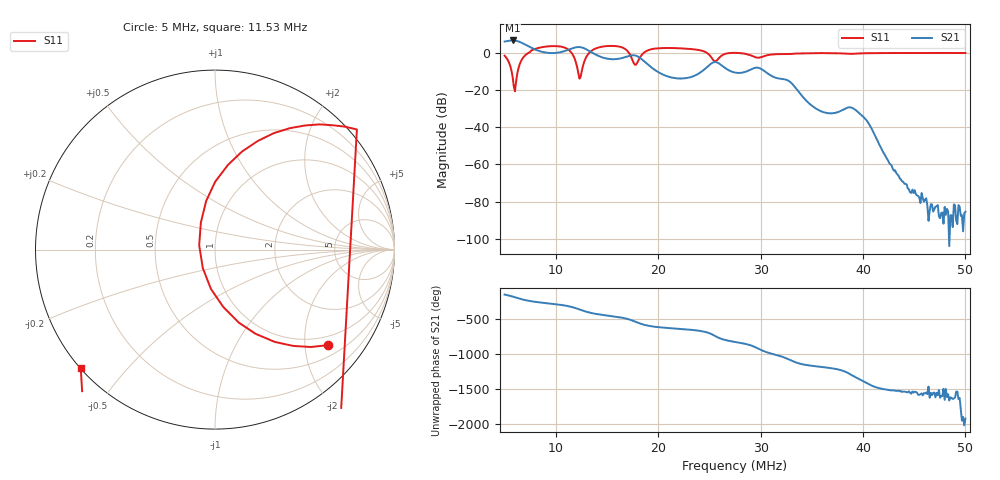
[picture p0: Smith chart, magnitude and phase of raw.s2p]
! S11/S21 only; reverse parameters are placeholders. Device calibration unverified.
! NanoVNA F V2 profile | COM3 | 2026-09-08T12:07:22.0122053-04:00 | device calibration unverified
# HZ S RI R 50
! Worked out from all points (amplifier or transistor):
!   401 points, 5 MHz to 50 MHz, reference 50 ohm
!   highest |S21| = 6.5 dB at 5.787 MHz (marker M1)
!   |S21| within 3 dB of that: start of sweep to 7.278 MHz
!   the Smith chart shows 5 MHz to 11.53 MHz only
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5000000  0.6305 -0.5322  -1.674 -1.067  0 0  0 0
5787500  -0.0229 -0.2185  -2.117 -0.1287  0 0  0 0
7250000  0.6574 0.6927  -0.8943 1.223  0 0  0 0
7812500  0.6662 -1.008  -0.4577 1.183  0 0  0 0
9950000  -0.066 -1.494  0.2461 0.9491  0 0  0 0
1.1525e7  -0.748 -0.6598  1.027 0.759  0 0  0 0
1.25375e7  0.2374 0.2155  1.352 -0.2678  0 0  0 0
1.3775e7  1.1 -0.5917  0.4624 -0.7975  0 0  0 0
1.59125e7  0.4949 -1.406  -0.1614 -0.6508  0 0  0 0
1.67e7  -0.1628 -1.279  -0.4242 -0.6148  0 0  0 0
1.7375e7  -0.6496 -0.3644  -0.7514 -0.381  0 0  0 0
1.81625e7  0.3439 0.6048  -0.7059 0.2248  0 0  0 0
1.895e7  1.11 0.2488  -0.3145 0.3735  0 0  0 0
2.0075e7  1.293 -0.2393  -0.0843 0.2797  0 0  0 0
2.53625e7  0.4483 -0.4574  0.5441 -0.0236  0 0  0 0
2.75e7  0.8803 -0.4479  -0.0654 -0.2847  0 0  0 0
3.0425e7  0.7436 -0.3429  -0.151 0.2725  0 0  0 0
3.50375e7  0.7043 -0.6635  0.00391 -0.037  0 0  0 0
3.92e7  0.5494 -0.7596  -0.0144 0.0262  0 0  0 0
4.2575e7  0.4427 -0.8686  0.000396 -0.000999  0 0  0 0
4.53875e7  0.3361 -0.9188  -0.000102 -0.0001  0 0  0 0
5e7  0.1596 -0.9628  -2.4e-05 -4.8e-05  0 0  0 0
